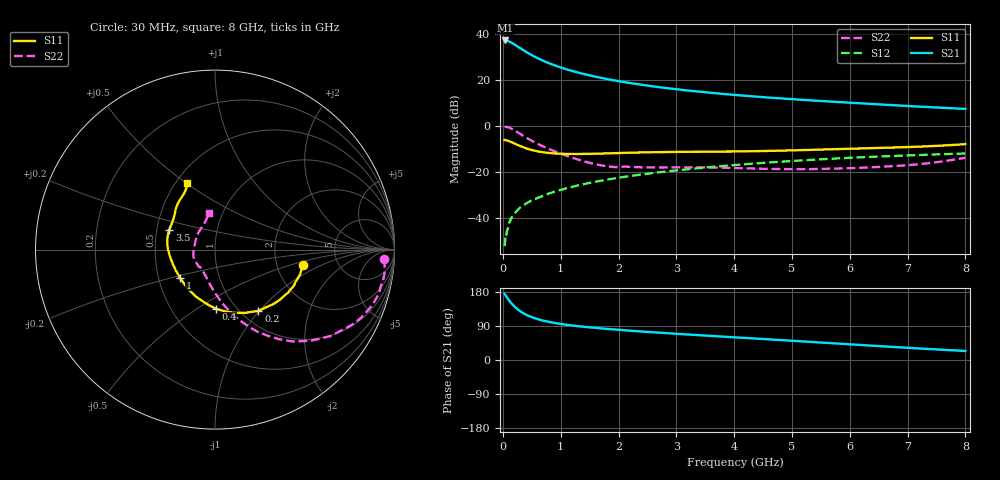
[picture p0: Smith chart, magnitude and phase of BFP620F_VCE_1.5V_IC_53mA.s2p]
! Infineon Technologies  Discrete & RF Semiconductors
! BFP620F
! VCE =  1.5 V,  IC =  53 mA
! Common Emitter S-Parameters:  Dec 2014
# GHz  S  MA  R  50
!  f  S11  S21  S12  S22
! GHz  MAG  ANG  MAG  ANG  MAG  ANG  MAG  ANG
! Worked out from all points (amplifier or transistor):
!   95 points, 30 MHz to 8 GHz, reference 50 ohm
!   highest |S21| = 37.0 dB at 40 MHz (marker M1)
!   |S21| within 3 dB of that: start of sweep to 278.8 MHz
!   unconditionally stable (mu >= 1): 1.869 GHz to end of sweep
!   at 300 MHz: K = 0.51, MSG = 34.4 dB, |S12| = -35.2 dB
!   at 3.3 GHz: K = 1.03, MAG = 15.7 dB, |S12| = -18.5 dB
!   at 8 GHz: K = 1.05, MAG = 8.2 dB, |S12| = -11.9 dB
!   S11 on the Smith chart (normalised r, x): 30 MHz: 2.81, -0.66; 200 MHz: 1.20, -0.99; 400 MHz: 0.81, -0.60; 1 GHz: 0.64, -0.21; 3.5 GHz: 0.58, +0.14; 8 GHz: 0.57, +0.51
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0.03  0.4979 -10.2  70.72 174.3  0.0025 95.9  0.9434 -3.2
0.04  0.4944 -13.0  70.79 172.0  0.0033 95.7  0.9496 -5.6
0.07  0.4833 -21.9  69.97 165.3  0.0052 75.3  0.9461 -12.6
0.11  0.4656 -33.0  66.87 156.6  0.0079 83.7  0.9193 -21.2
0.15  0.4447 -43.0  63.16 149.3  0.0103 76.9  0.8716 -28.7
0.2  0.4182 -54.6  57.91 141.2  0.0125 73.0  0.8033 -36.9
0.25  0.3902 -64.7  52.88 134.3  0.015 71.3  0.7351 -43.7
0.3  0.3668 -73.6  48.18 128.5  0.0173 71.1  0.6716 -49.7
0.35  0.3462 -81.9  43.89 123.7  0.0189 69.9  0.6129 -54.5
0.4  0.3284 -89.3  40.19 119.6  0.0208 68.2  0.5612 -58.7
0.5  0.3003 -101.5  34.05 113.0  0.0246 67.8  0.4782 -65.7
0.6  0.2821 -112.4  29.33 107.9  0.0276 67.8  0.4108 -71.3
0.8  0.2602 -128.8  22.74 100.5  0.0347 68.2  0.3163 -80.5
1  0.2507 -141.5  18.45 95.2  0.0413 68.1  0.2521 -88.3
1.4  0.2485 -159.7  13.3 87.7  0.0551 67.7  0.1722 -104.1
1.9  0.2564 -175.0  9.819 80.9  0.0721 66.0  0.1298 -126.3
2.7  0.2711 168.7  6.921 72.2  0.0992 61.7  0.1261 -149.7
3.5  0.2774 156.7  5.359 64.5  0.1255 56.9  0.1264 -162.0
4.1  0.2816 148.9  4.594 59.0  0.1453 53.0  0.1219 -170.5
5.4  0.3052 136.7  3.532 47.0  0.1865 43.7  0.1169 162.1
6.7  0.3398 124.9  2.836 34.9  0.2222 33.8  0.1341 131.7
8  0.4037 112.5  2.336 23.7  0.2537 24.3  0.2041 99.2
